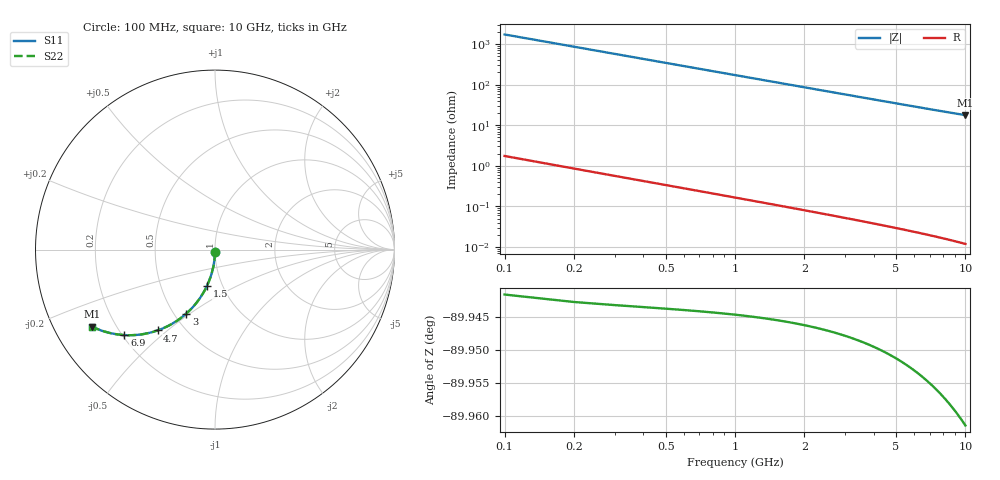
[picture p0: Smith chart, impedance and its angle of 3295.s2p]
# Hz S RI R 50.00
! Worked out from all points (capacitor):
!   100 points, 100 MHz to 10 GHz, reference 50 ohm
!   read as one part in shunt: C = 925 fF near 100 MHz
!   lowest |Z| = 17.7 ohm at 10 GHz (marker M1)
!   S11 on the Smith chart (normalised r, x): 100 MHz: 1.00, -0.03; 1.5 GHz: 0.84, -0.36; 3 GHz: 0.58, -0.48; 4.7 GHz: 0.36, -0.46; 6.9 GHz: 0.21, -0.38; 10 GHz: 0.11, -0.28
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1e8  1.28e-05 -0.0142  0.9995 -0.0149  0.9995 -0.0149  1.28e-05 -0.0142
2e8  -0.000633 -0.0284  0.9989 -0.0297  0.9989 -0.0297  -0.000633 -0.0284
3e8  -0.0017 -0.0425  0.9978 -0.0445  0.9978 -0.0445  -0.0017 -0.0425
4e8  -0.00318 -0.0566  0.9963 -0.0593  0.9963 -0.0593  -0.00318 -0.0566
5e8  -0.00508 -0.0706  0.9944 -0.0739  0.9944 -0.0739  -0.00508 -0.0706
6e8  -0.00738 -0.0845  0.9921 -0.0885  0.9921 -0.0885  -0.00738 -0.0845
7e8  -0.0101 -0.0983  0.9894 -0.103  0.9894 -0.103  -0.0101 -0.0983
9e8  -0.0167 -0.1256  0.9828 -0.1316  0.9828 -0.1316  -0.0167 -0.1256
1.2e9  -0.0294 -0.1652  0.97 -0.1732  0.97 -0.1732  -0.0294 -0.1652
1.5e9  -0.0453 -0.2031  0.9541 -0.2131  0.9541 -0.2131  -0.0453 -0.2031
1.8e9  -0.0641 -0.2389  0.9354 -0.2509  0.9354 -0.2509  -0.0641 -0.2389
2.4e9  -0.1086 -0.303  0.8907 -0.3191  0.8907 -0.3191  -0.1086 -0.303
3e9  -0.1601 -0.3565  0.8392 -0.3766  0.8392 -0.3766  -0.1601 -0.3565
3.4e9  -0.1968 -0.386  0.8024 -0.4088  0.8024 -0.4088  -0.1968 -0.386
4e9  -0.2536 -0.4214  0.7456 -0.4482  0.7456 -0.4482  -0.2536 -0.4214
4.7e9  -0.3197 -0.4503  0.6793 -0.4818  0.6793 -0.4818  -0.3197 -0.4503
5.1e9  -0.3565 -0.4615  0.6424 -0.4957  0.6424 -0.4957  -0.3565 -0.4615
5.9e9  -0.4264 -0.4743  0.5723 -0.514  0.5723 -0.514  -0.4264 -0.4743
6.7e9  -0.4902 -0.4768  0.5082 -0.522  0.5082 -0.522  -0.4902 -0.4768
6.9e9  -0.5051 -0.4761  0.4933 -0.5227  0.4933 -0.5227  -0.5051 -0.4761
8.4e9  -0.6036 -0.4599  0.3942 -0.5168  0.3942 -0.5168  -0.6036 -0.4599
1e10  -0.6851 -0.4292  0.312 -0.4974  0.312 -0.4974  -0.6851 -0.4292
